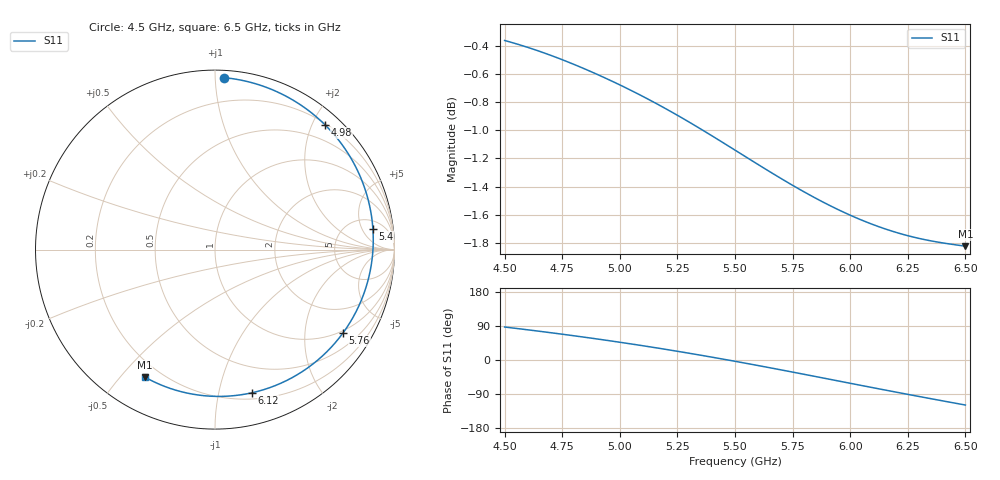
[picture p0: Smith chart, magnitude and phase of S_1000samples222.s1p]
! TOUCHSTONE file generated by CST MICROWAVE STUDIO
! Date and time: Thu Oct 27 10:29:52 2022
! Project name: L.cst
! Parameters = {Di=1.27; Epsilon_r=1.56; InnerDiameter=1.27; Length=2; Lf=10; Lg=60; OuterConductorThickness=0.2921; OuterDiameter=3.6; Wf=3; Wp=41.2; de=1.5; df=6.8; g=0.8; gx=2.72834; gy=2.57932; h=2.34; hf=1.524; px=8.19478; py=10.6309; w=9.7; wx=5.46644; wy=8.05154}
! Header version: 2018
! Port assignment regex: !\s*Touchstone port\s*([0-9]+)\s*=\s*(CST MWS port|CST DS port)\s*([0-9]+|Zmin|Zmax)\s*\(\"(.*)\"\)(\s*mode\s*([0-9]+))?.*
! Touchstone port assignment:
! Touchstone port 1 = CST MWS port 1 ("")
# GHz S DB R 50
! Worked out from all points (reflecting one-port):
!   101 points, 4.5 GHz to 6.5 GHz, reference 50 ohm
!   lowest |S11| = -1.8 dB at 6.5 GHz (marker M1), VSWR 9.55, Z = 7.03 - j29.1 ohm
!   phase of S11 starts at 87 deg and turns -206 deg over the sweep
!   S11 on the Smith chart (normalised r, x): 4.5 GHz: 0.04, +1.05; 4.98 GHz: 0.22, +2.19; 5.4 GHz: 8, +8; 5.76 GHz: 0.92, -3.12; 6.12 GHz: 0.25, -1.26; 6.5 GHz: 0.14, -0.58
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4.5  -0.36 87.0
4.64  -0.43 76.7
4.76  -0.50 67.3
4.88  -0.59 57.3
4.98  -0.66 48.6
5  -0.68 46.8
5.06  -0.72 41.4
5.14  -0.79 33.8
5.26  -0.90 22.0
5.34  -0.98 13.8
5.4  -1.04 7.5
5.5  -1.14 -3.4
5.56  -1.20 -10.1
5.62  -1.26 -16.9
5.68  -1.32 -23.8
5.76  -1.40 -33.1
5.82  -1.46 -40.1
5.88  -1.51 -47.2
5.94  -1.56 -54.3
6  -1.60 -61.4
6.06  -1.65 -68.5
6.12  -1.68 -75.6
6.18  -1.72 -82.6
6.26  -1.75 -91.8
6.32  -1.78 -98.7
6.38  -1.80 -105.5
6.44  -1.81 -112.2
6.5  -1.82 -118.8
